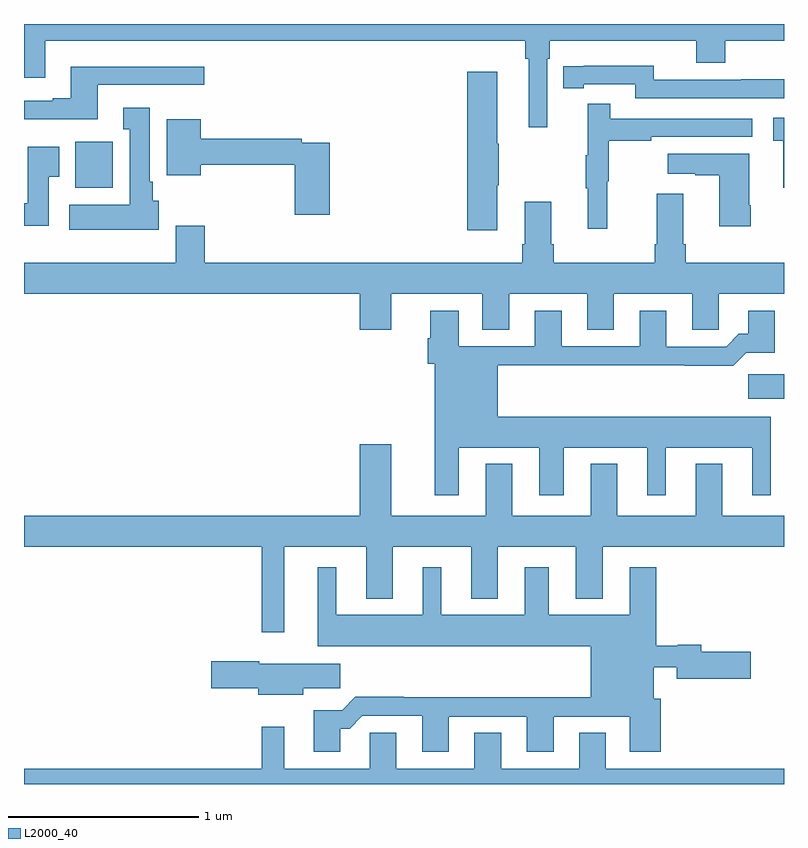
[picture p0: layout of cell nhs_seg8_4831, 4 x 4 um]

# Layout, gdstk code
import gdstk
lib = gdstk.Library(unit=1e-6, precision=1e-09)
def R(c, l, rs):  # rectangles x0, y0, x1, y1
    for r in rs: c.add(gdstk.rectangle(r[:2], r[2:], *l))
def P(c, l, *ps):  # polygons
    for p in ps: c.add(gdstk.Polygon(p, *l))
L2000_40 = (2000, 40)

nhs_seg8_4831 = lib.new_cell('nhs_seg8_4831')
R(nhs_seg8_4831, L2000_40, [(406.812,1135.928,407,1136.057), (403.271,1137.038,403.468,1137.28)])
P(nhs_seg8_4831, L2000_40, [(405.753,1137.716),(405.767,1137.716),(405.767,1137.812),(406.538,1137.812),(406.538,1137.695),(406.691,1137.695),(406.691,1137.812),(407,1137.812),(407,1137.9),(403,1137.9),(403,1137.618),(403.111,1137.618),(403.111,1137.812),(405.637,1137.812),(405.637,1137.716),(405.656,1137.716),(405.656,1137.357),(405.753,1137.357)],
  [(407,1137.608),(406.774,1137.608),(406.774,1137.606),(406.314,1137.606),(406.314,1137.679),(405.946,1137.679),(405.946,1137.678),(405.838,1137.678),(405.838,1137.562),(405.946,1137.562),(405.946,1137.582),(406.218,1137.582),(406.218,1137.51),(407,1137.51)],
  [(403.387,1137.579),(403.948,1137.579),(403.948,1137.676),(403.247,1137.676),(403.247,1137.508),(403.151,1137.508),(403.151,1137.495),(403,1137.495),(403,1137.398),(403.387,1137.398)],
  [(405.49,1137.052),(405.498,1137.052),(405.498,1137.269),(405.49,1137.269),(405.49,1137.649),(405.332,1137.649),(405.332,1136.814),(405.49,1136.814)],
  [(406.07,1137.072),(406.078,1137.072),(406.078,1137.286),(406.301,1137.286),(406.301,1137.306),(406.834,1137.306),(406.834,1137.402),(406.085,1137.402),(406.085,1137.481),(405.968,1137.481),(405.968,1137.209),(405.957,1137.209),(405.957,1137.035),(405.968,1137.035),(405.968,1136.823),(406.07,1136.823)],
  [(403.708,1136.97),(403.678,1136.97),(403.678,1137.07),(403.663,1137.07),(403.663,1137.46),(403.523,1137.46),(403.523,1137.347),(403.556,1137.347),(403.556,1136.95),(403.239,1136.95),(403.239,1136.816),(403.708,1136.816)],
  [(407,1137.406),(406.944,1137.406),(406.944,1137.285),(406.997,1137.285),(406.997,1137.039),(407,1137.039)],
  [(404.609,1137.276),(404.462,1137.276),(404.462,1137.296),(403.93,1137.296),(403.93,1137.4),(403.751,1137.4),(403.751,1137.104),(403.93,1137.104),(403.93,1137.16),(404.426,1137.16),(404.426,1136.895),(404.609,1136.895)],
  [(403.129,1137.097),(403.186,1137.097),(403.186,1137.253),(403.019,1137.253),(403.019,1136.956),(403,1136.956),(403,1136.838),(403.129,1136.838)],
  [(406.824,1136.947),(406.816,1136.947),(406.816,1137.217),(406.389,1137.217),(406.389,1137.113),(406.532,1137.113),(406.532,1137.103),(406.658,1137.103),(406.658,1136.835),(406.824,1136.835)],
  [(405.553,1136.48),(405.965,1136.48),(405.965,1136.29),(406.105,1136.29),(406.105,1136.48),(406.517,1136.48),(406.517,1136.29),(406.656,1136.29),(406.656,1136.48),(407,1136.48),(407,1136.644),(406.484,1136.644),(406.484,1136.74),(406.471,1136.74),(406.471,1137.007),(406.331,1137.007),(406.331,1136.74),(406.319,1136.74),(406.319,1136.644),(405.788,1136.644),(405.788,1136.74),(405.775,1136.74),(405.775,1136.965),(405.635,1136.965),(405.635,1136.74),(405.623,1136.74),(405.623,1136.644),(403.952,1136.644),(403.952,1136.839),(403.799,1136.839),(403.799,1136.644),(403,1136.644),(403,1136.48),(404.768,1136.48),(404.768,1136.292),(404.932,1136.292),(404.932,1136.48),(405.413,1136.48),(405.413,1136.29),(405.553,1136.29)],
  [(405.289,1135.67),(405.713,1135.67),(405.713,1135.419),(405.841,1135.419),(405.841,1135.67),(406.28,1135.67),(406.28,1135.419),(406.378,1135.419),(406.378,1135.67),(406.832,1135.67),(406.832,1135.419),(406.93,1135.419),(406.93,1135.834),(405.493,1135.834),(405.493,1136.104),(406.477,1136.104),(406.477,1136.102),(406.733,1136.102),(406.802,1136.171),(406.951,1136.171),(406.951,1136.392),(406.811,1136.392),(406.811,1136.269),(406.762,1136.269),(406.695,1136.202),(406.381,1136.202),(406.381,1136.392),(406.241,1136.392),(406.241,1136.205),(405.829,1136.205),(405.829,1136.392),(405.689,1136.392),(405.689,1136.205),(405.289,1136.205),(405.289,1136.392),(405.137,1136.392),(405.137,1136.246),(405.125,1136.246),(405.125,1136.112),(405.161,1136.112),(405.161,1135.419),(405.289,1135.419)],
  [(404.371,1135.148),(404.801,1135.148),(404.801,1134.875),(404.941,1134.875),(404.941,1135.148),(405.353,1135.148),(405.353,1134.875),(405.493,1134.875),(405.493,1135.148),(405.905,1135.148),(405.905,1134.875),(406.045,1134.875),(406.045,1135.148),(407,1135.148),(407,1135.312),(406.675,1135.312),(406.675,1135.585),(406.535,1135.585),(406.535,1135.312),(406.123,1135.312),(406.123,1135.585),(405.983,1135.585),(405.983,1135.312),(405.571,1135.312),(405.571,1135.585),(405.431,1135.585),(405.431,1135.312),(404.932,1135.312),(404.932,1135.687),(404.768,1135.687),(404.768,1135.312),(403,1135.312),(403,1135.148),(404.25,1135.148),(404.25,1134.699),(404.371,1134.699)],
  [(404.665,1134.191),(404.714,1134.191),(404.781,1134.258),(405.095,1134.258),(405.095,1134.069),(405.235,1134.069),(405.235,1134.255),(405.647,1134.255),(405.647,1134.069),(405.787,1134.069),(405.787,1134.255),(406.187,1134.255),(406.187,1134.069),(406.352,1134.069),(406.352,1134.348),(406.315,1134.348),(406.315,1134.515),(406.436,1134.515),(406.436,1134.454),(406.825,1134.454),(406.825,1134.596),(406.564,1134.596),(406.564,1134.632),(406.44,1134.632),(406.44,1134.628),(406.328,1134.628),(406.328,1135.042),(406.187,1135.042),(406.187,1134.79),(405.763,1134.79),(405.763,1135.042),(405.635,1135.042),(405.635,1134.79),(405.196,1134.79),(405.196,1135.042),(405.098,1135.042),(405.098,1134.79),(404.644,1134.79),(404.644,1135.042),(404.546,1135.042),(404.546,1134.626),(405.983,1134.626),(405.983,1134.356),(404.999,1134.356),(404.999,1134.359),(404.744,1134.359),(404.674,1134.289),(404.525,1134.289),(404.525,1134.069),(404.665,1134.069)],
  [(404.47,1134.403),(404.665,1134.403),(404.665,1134.532),(404.238,1134.532),(404.238,1134.545),(403.986,1134.545),(403.986,1134.403),(404.234,1134.403),(404.234,1134.371),(404.47,1134.371)],
  [(407,1133.98),(406.063,1133.98),(406.063,1134.17),(405.923,1134.17),(405.923,1133.98),(405.511,1133.98),(405.511,1134.17),(405.371,1134.17),(405.371,1133.98),(404.959,1133.98),(404.959,1134.17),(404.82,1134.17),(404.82,1133.98),(404.371,1133.98),(404.371,1134.202),(404.25,1134.202),(404.25,1133.98),(403,1133.98),(403,1133.9),(407,1133.9)])

lib.write_gds('nhs_seg8_4831.gds')
